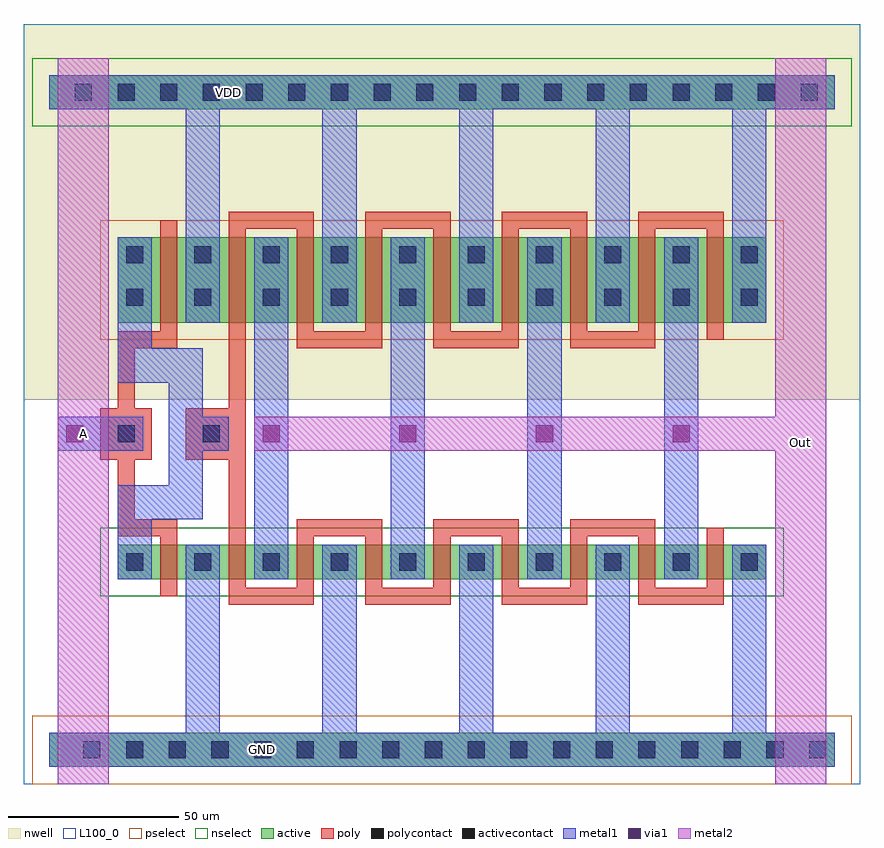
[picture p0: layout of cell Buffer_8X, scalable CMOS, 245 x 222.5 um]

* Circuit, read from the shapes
.subckt Buffer_8X A GND Out VDD
M1 GND A n1 GND nfet w=10u l=5u
M2 Out n1 GND GND nfet w=10u l=5u m=8
M3 VDD A n1 VDD pfet w=25u l=5u
M4 Out n1 VDD VDD pfet w=25u l=5u m=8
.ends

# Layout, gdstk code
import gdstk
lib = gdstk.Library(unit=1e-6, precision=1e-09)
def R(c, l, rs):  # rectangles x0, y0, x1, y1
    for r in rs: c.add(gdstk.rectangle(r[:2], r[2:], *l))
def A(c, l, x, y, w, h, nx, ny, dx, dy):  # array of equal rectangles
    R(c, l, [(x+i*dx, y+j*dy, x+i*dx+w, y+j*dy+h) for i in range(nx) for j in range(ny)])
nwell = (42, 0)
active = (43, 0)
pselect = (44, 0)
nselect = (45, 0)
poly = (46, 0)
polycontact = (47, 0)
activecontact = (48, 0)
metal1 = (49, 0)
via1 = (50, 0)
metal2 = (51, 0)
L100_0 = (100, 0)

buffer_8x = lib.new_cell('Buffer_8X')
R(buffer_8x, nwell, [(0,112.5,245,222.5), (7.5,112.5,237.5,190), (0,190,245,215), (7.5,215,237.5,222.5)])
R(buffer_8x, active, [(7.5,5,237.5,15), (27.5,60,217.5,70), (27.5,135,217.5,160), (7.5,197.5,237.5,207.5)])
R(buffer_8x, pselect, [(2.5,0,242.5,20), (22.5,130,222.5,165)])
R(buffer_8x, nselect, [(22.5,55,222.5,75), (2.5,192.5,242.5,212.5)])
A(buffer_8x, poly, 60, 52.5, 25, 5, 4, 2, 40, 110)
A(buffer_8x, poly, 80, 57.5, 5, 15, 6, 1, 20, 0)
A(buffer_8x, poly, 80, 72.5, 25, 5, 3, 2, 40, 55)
A(buffer_8x, poly, 80, 132.5, 5, 30, 6, 1, 20, 0)
R(buffer_8x, poly, [(40,55,45,72.5), (60,57.5,65,95), (200,57.5,205,75), (27.5,72.5,45,77.5), (27.5,77.5,32.5,95), (22.5,95,37.5,110), (47.5,95,65,110), (27.5,110,32.5,127.5), (60,110,65,162.5), (27.5,127.5,45,132.5), (200,130,205,162.5), (40,132.5,45,165)])
R(buffer_8x, polycontact, [(27.5,100,32.5,105), (52.5,100,57.5,105)])
A(buffer_8x, activecontact, 17.5, 7.5, 5, 5, 18, 1, 12.5, 0)
A(buffer_8x, activecontact, 30, 62.5, 5, 5, 10, 2, 20, 77.5)
A(buffer_8x, activecontact, 30, 152.5, 5, 5, 10, 1, 20, 0)
A(buffer_8x, activecontact, 15, 200, 5, 5, 18, 1, 12.5, 0)
A(buffer_8x, metal1, 47.5, 15, 10, 55, 5, 1, 40, 0)
A(buffer_8x, metal1, 67.5, 60, 10, 100, 4, 1, 40, 0)
A(buffer_8x, metal1, 47.5, 135, 10, 62.5, 5, 1, 40, 0)
R(buffer_8x, metal1, [(7.5,5,237.5,15), (27.5,60,37.5,77.5), (27.5,77.5,52.5,87.5), (42.5,87.5,52.5,97.5), (10,97.5,35,107.5), (42.5,97.5,60,107.5), (42.5,107.5,52.5,117.5), (27.5,117.5,52.5,127.5), (27.5,127.5,37.5,160), (7.5,197.5,237.5,207.5)])
A(buffer_8x, via1, 70, 100, 5, 5, 4, 1, 40, 0)
R(buffer_8x, via1, [(12.5,100,17.5,105)])
R(buffer_8x, metal2, [(10,0,25,212.5), (220,0,235,97.5), (67.5,97.5,235,107.5), (220,107.5,235,212.5)])
R(buffer_8x, L100_0, [(0,0,245,222.5)])
buffer_8x.add(gdstk.Label('GND', (70,10), layer=49, texttype=1))
buffer_8x.add(gdstk.Label('VDD', (60,202.5), layer=49, texttype=1))
buffer_8x.add(gdstk.Label('A', (17.5,102.5), layer=51, texttype=1))
buffer_8x.add(gdstk.Label('Out', (227.5,100), layer=51, texttype=1))

lib.write_gds('Buffer_8X.gds')
